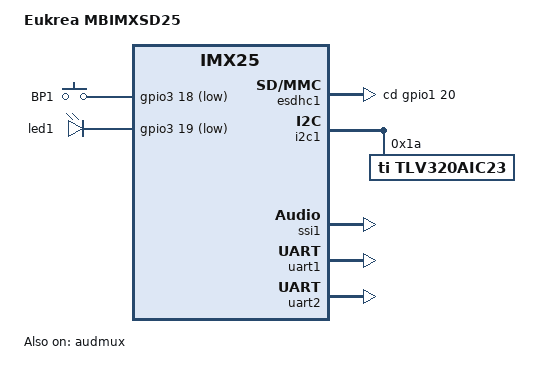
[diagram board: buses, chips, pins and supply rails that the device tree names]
/*
 * Copyright 2013 Eukréa Electromatique <denis@eukrea.com>
 *
 * This program is free software; you can redistribute it and/or
 * modify it under the terms of the GNU General Public License
 * as published by the Free Software Foundation; either version 2
 * of the License, or (at your option) any later version.
 * This program is distributed in the hope that it will be useful,
 * but WITHOUT ANY WARRANTY; without even the implied warranty of
 * MERCHANTABILITY or FITNESS FOR A PARTICULAR PURPOSE.  See the
 * GNU General Public License for more details.
 */

/dts-v1/;

#include <dt-bindings/gpio/gpio.h>
#include <dt-bindings/input/input.h>
#include "imx25-eukrea-cpuimx25.dtsi"

/ {
	model = "Eukrea MBIMXSD25";
	compatible = "eukrea,mbimxsd25-baseboard", "eukrea,cpuimx25", "fsl,imx25";

	gpio_keys {
		compatible = "gpio-keys";
		pinctrl-names = "default";
		pinctrl-0 = <&pinctrl_gpiokeys>;

		bp1 {
			label = "BP1";
			gpios = <&gpio3 18 GPIO_ACTIVE_LOW>;
			linux,code = <BTN_MISC>;
			gpio-key,wakeup;
		};
	};

	leds {
		compatible = "gpio-leds";
		pinctrl-names = "default";
		pinctrl-0 = <&pinctrl_gpioled>;

		led1 {
			label = "led1";
			gpios = <&gpio3 19 GPIO_ACTIVE_LOW>;
			linux,default-trigger = "heartbeat";
		};
	};

	sound {
		compatible = "eukrea,asoc-tlv320";
		eukrea,model = "imx25-eukrea-tlv320aic23";
		ssi-controller = <&ssi1>;
		fsl,mux-int-port = <1>;
		fsl,mux-ext-port = <5>;
	};
};

&audmux {
	pinctrl-names = "default";
	pinctrl-0 = <&pinctrl_audmux>;
	status = "okay";
};

&esdhc1 {
	pinctrl-names = "default";
	pinctrl-0 = <&pinctrl_esdhc1>;
	cd-gpios = <&gpio1 20>;
	status = "okay";
};

&i2c1 {
	tlv320aic23: codec@1a {
		compatible = "ti,tlv320aic23";
		reg = <0x1a>;
	};
};

&iomuxc {
	imx25-eukrea-mbimxsd25-baseboard {
		pinctrl_audmux: audmuxgrp {
			fsl,pins = <MX25_AUDMUX_PINGRP1>;
		};

		pinctrl_esdhc1: esdhc1grp {
			fsl,pins = <MX25_ESDHC1_PINGRP1>;
		};

		pinctrl_gpiokeys: gpiokeysgrp {
			fsl,pins = <MX25_PAD_VSTBY_ACK__GPIO_3_18 0x80000000>;
		};

		pinctrl_gpioled: gpioledgrp {
			fsl,pins = <MX25_PAD_POWER_FAIL__GPIO_3_19 0x80000000>;
		};

		pinctrl_lcdc: lcdcgrp {
			fsl,pins = <MX25_LCDC_PINGRP1>;
		};

		pinctrl_uart1: uart1grp {
			fsl,pins = <MX25_UART1_PINGRP1>;
		};

		pinctrl_uart2: uart2grp {
			fsl,pins = <MX25_UART2_PINGRP1>;
		};
	};
};

&ssi1 {
	codec-handle = <&tlv320aic23>;
	fsl,mode = "i2s-slave";
	status = "okay";
};

&uart1 {
	pinctrl-names = "default";
	pinctrl-0 = <&pinctrl_uart1>;
	fsl,uart-has-rtscts;
	status = "okay";
};

&uart2 {
	pinctrl-names = "default";
	pinctrl-0 = <&pinctrl_uart2>;
	fsl,uart-has-rtscts;
	status = "okay";
};
